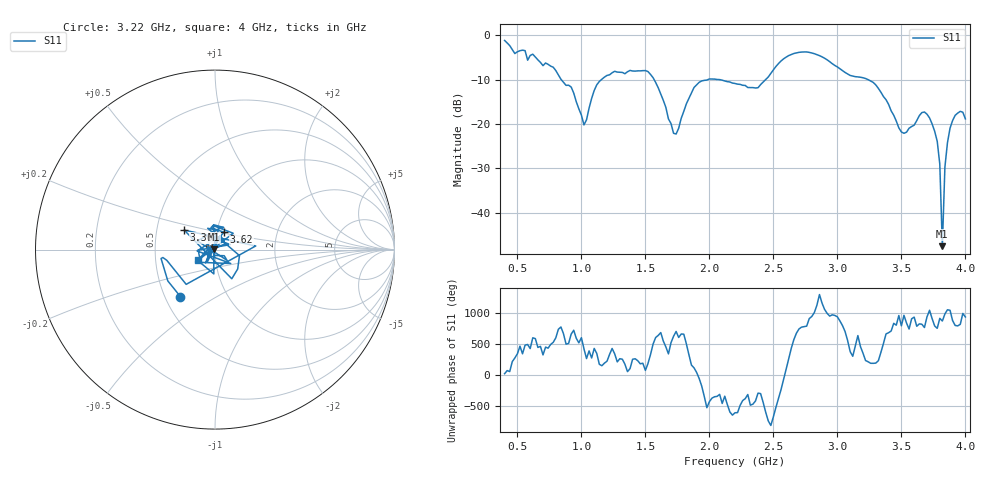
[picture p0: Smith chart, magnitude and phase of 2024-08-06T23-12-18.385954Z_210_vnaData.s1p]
!Created with skrf (http://scikit-rf.org).
# Hz S RI R 50.0
!freq ReS11 ImS11
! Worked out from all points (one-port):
!   181 points, 400 MHz to 4 GHz, reference 50 ohm
!   lowest |S11| = -47.5 dB at 3.82 GHz (marker M1), VSWR 1.01, Z = 49.7 + j0.234 ohm
!   |S11| at or under -10 dB: 1.568 GHz to 1.989 GHz (421.4 MHz wide, 23.7 % of centre); 2.077 GHz to 2.44 GHz (362.9 MHz wide, 16.1 % of centre); 3.239 GHz to end of sweep (the widest 3 of 4)
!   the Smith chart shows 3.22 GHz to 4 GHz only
!   S11 on the Smith chart (normalised r, x): 3.22 GHz: 0.60, -0.35; 3.36 GHz: 0.69, +0.16; 3.62 GHz: 1.09, +0.21; 4 GHz: 0.82, -0.10
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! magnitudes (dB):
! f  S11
! 400 MHz  -1.2
! 860 MHz  -10.6
! 920 MHz  -11.7
! 1.02 GHz  -20.2
! 1.12 GHz  -11.2
! 1.3 GHz  -8.4
! 1.52 GHz  -8.2
! 1.6 GHz  -11.8
! 1.72 GHz  -22.1
! 1.76 GHz  -21.0
! 1.92 GHz  -10.6
! 2.2 GHz  -10.9
! 2.38 GHz  -11.8
! 2.66 GHz  -4.1
! 3.1 GHz  -9.1
! 3.22 GHz  -9.8
! 3.36 GHz  -13.8
! 3.5 GHz  -21.8
! 3.56 GHz  -21.0
! 3.62 GHz  -19.2
! 3.7 GHz  -17.8
! 3.78 GHz  -23.9
! 3.8 GHz  -29.0
! 3.82 GHz  -47.5
! 3.84 GHz  -29.7
! 3.88 GHz  -21.0
! 3.96 GHz  -17.2
! 4 GHz  -18.8
